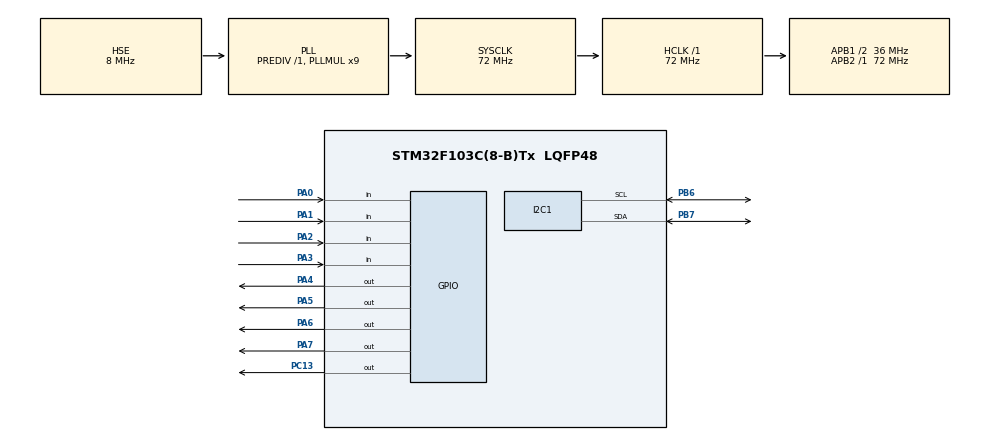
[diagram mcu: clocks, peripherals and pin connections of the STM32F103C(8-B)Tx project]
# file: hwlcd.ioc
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Mcu.Family=STM32F1
Mcu.Name=STM32F103C(8-B)Tx
Mcu.Package=LQFP48
NVIC.PriorityGroup=NVIC_PRIORITYGROUP_4
PA0-WKUP.GPIO_PuPd=GPIO_PULLUP
PA0-WKUP.Signal=GPIO_Input
PA1.GPIO_PuPd=GPIO_PULLUP
PA1.Signal=GPIO_Input
PA13.Mode=Serial_Wire
PA13.Signal=SYS_JTMS-SWDIO
PA14.Mode=Serial_Wire
PA14.Signal=SYS_JTCK-SWCLK
PA2.GPIO_PuPd=GPIO_PULLUP
PA2.Signal=GPIO_Input
PA3.GPIO_PuPd=GPIO_PULLUP
PA3.Signal=GPIO_Input
PA4.PinState=GPIO_PIN_SET
PA4.Signal=GPIO_Output
PA5.PinState=GPIO_PIN_SET
PA5.Signal=GPIO_Output
PA6.PinState=GPIO_PIN_SET
PA6.Signal=GPIO_Output
PA7.PinState=GPIO_PIN_SET
PA7.Signal=GPIO_Output
PB6.Mode=I2C
PB6.Signal=I2C1_SCL
PB7.Mode=I2C
PB7.Signal=I2C1_SDA
PC13-TAMPER-RTC.Signal=GPIO_Output
PD0-OSC_IN.Mode=HSE-External-Oscillator
PD0-OSC_IN.Signal=RCC_OSC_IN
PD1-OSC_OUT.Mode=HSE-External-Oscillator
PD1-OSC_OUT.Signal=RCC_OSC_OUT
ProjectManager.HeapSize=0x200
ProjectManager.StackSize=0x400
ProjectManager.TargetToolchain=STM32CubeIDE
RCC.AHBFreq_Value=72000000
RCC.APB1CLKDivider=RCC_HCLK_DIV2
RCC.APB1Freq_Value=36000000
RCC.APB1TimFreq_Value=72000000
RCC.APB2Freq_Value=72000000
RCC.APB2TimFreq_Value=72000000
RCC.HCLKFreq_Value=72000000
RCC.PLLMUL=RCC_PLL_MUL9
RCC.PLLSourceVirtual=RCC_PLLSOURCE_HSE
RCC.SYSCLKFreq_VALUE=72000000
RCC.SYSCLKSource=RCC_SYSCLKSOURCE_PLLCLK
RCC.USBFreq_Value=72000000
board=custom

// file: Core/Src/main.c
/* USER CODE BEGIN Header */
/**
  ******************************************************************************
  * @file           : main.c
  * @brief          : Main program body
  ******************************************************************************
  * @attention
  *
  * <h2><center>&copy; Copyright (c) 2023 STMicroelectronics.
  * All rights reserved.</center></h2>
  *
  * This software component is licensed by ST under BSD 3-Clause license,
  * the "License"; You may not use this file except in compliance with the
  * License. You may obtain a copy of the License at:
  *                        opensource.org/licenses/BSD-3-Clause
  *
  ******************************************************************************
  */
/* USER CODE END Header */
#include "main.h"

I2C_HandleTypeDef hi2c1;

void SystemClock_Config(void);
static void MX_GPIO_Init(void);
static void MX_I2C1_Init(void);
/* USER CODE BEGIN PFP */
void CheckPassWord()
{
	if(error < 3)
	{
		for( int k = 0; k < 8; k++)
		{
			if( var[k] == password[k])
			{
				if(k == 7)
				{
					for(int i = 0; i < 8;i++)
					{
						var[i] = 10;
					}
					count = 0;
					error = 0;
					lcd_clear();
					HAL_Delay(200);
					lcd_put_cur(0, 3);
					lcd_send_string("mat khau dung");
					HAL_Delay(5000);
					lcd_clear();
					HAL_Delay(200);
					lcd_put_cur(0, 3);
					lcd_send_string("Nhap mat khau");
				}
			}
			else
			{
				for(int j = 0; j < 8;j++)
				{
					var[j] = 15;
				}
				count = 0;
			}
		}
	    error++;
	}
}
void quetbanphim()
{
	// Quet cot 1
	HAL_GPIO_WritePin(GPIOA, GPIO_PIN_7, 0);
	//cot x hang cot out put hàng input
	test = count;
	if (HAL_GPIO_ReadPin(GPIOA, GPIO_PIN_3) == 0)
	{
		while(HAL_GPIO_ReadPin(GPIOA, GPIO_PIN_3) == 0);
		var[count] = 1;
		count++;
	}
	else if (HAL_GPIO_ReadPin(GPIOA, GPIO_PIN_2) == 0)
	{
		while(HAL_GPIO_ReadPin(GPIOA, GPIO_PIN_2) == 0);
		var[count] = 4;
		count++;
	}
	else if (HAL_GPIO_ReadPin(GPIOA, GPIO_PIN_1) == 0)
	{
		while(HAL_GPIO_ReadPin(GPIOA, GPIO_PIN_1) == 0);
		var[count] = 7;
		count++;
	}
	else if (HAL_GPIO_ReadPin(GPIOA, GPIO_PIN_0) == 0)
	{
		while(HAL_GPIO_ReadPin(GPIOA, GPIO_PIN_0) == 0);
		count--;
		var[count] = 15;
	}
	// Quet cot 2
	HAL_GPIO_WritePin(GPIOA, GPIO_PIN_7, 1);
	HAL_GPIO_WritePin(GPIOA, GPIO_PIN_6, 0);
	if (HAL_GPIO_ReadPin(GPIOA, GPIO_PIN_3) == 0)
	{
		while(HAL_GPIO_ReadPin(GPIOA, GPIO_PIN_3) == 0);
		var[count] = 2;
		count++;
	}
	else if (HAL_GPIO_ReadPin(GPIOA, GPIO_PIN_2) == 0)
	{
		while(HAL_GPIO_ReadPin(GPIOA, GPIO_PIN_2) == 0);
		var[count] = 5;
		count++;
	}
	else if (HAL_GPIO_ReadPin(GPIOA, GPIO_PIN_1) == 0)
	{
		while(HAL_GPIO_ReadPin(GPIOA, GPIO_PIN_1) == 0);
		var[count] = 8;
		count++;
	}
	else if (HAL_GPIO_ReadPin(GPIOA, GPIO_PIN_0) == 0)
	{
		while(HAL_GPIO_ReadPin(GPIOA, GPIO_PIN_0) == 0);
		count++;
		var[count] = 0;
	}
	HAL_GPIO_WritePin(GPIOA, GPIO_PIN_6, 1);

	//quet cot 3
	HAL_GPIO_WritePin(GPIOA, GPIO_PIN_5, 0);
	if (HAL_GPIO_ReadPin(GPIOA, GPIO_PIN_3) == 0)
	{
		while(HAL_GPIO_ReadPin(GPIOA, GPIO_PIN_3) == 0);
		var[count] = 3;
		count++;
	}
	else if (HAL_GPIO_ReadPin(GPIOA, GPIO_PIN_2) == 0)
	{
		while(HAL_GPIO_ReadPin(GPIOA, GPIO_PIN_2) == 0);
		var[count] = 6;
		count++;
	}
	else if (HAL_GPIO_ReadPin(GPIOA, GPIO_PIN_1) == 0)
	{
		while(HAL_GPIO_ReadPin(GPIOA, GPIO_PIN_1) == 0);
		var[count] = 9;
		count++;
	}
	else if (HAL_GPIO_ReadPin(GPIOA, GPIO_PIN_0) == 0)
	{
		while(HAL_GPIO_ReadPin(GPIOA, GPIO_PIN_0) == 0);
		count++;
		CheckPassWord();
	}
	HAL_GPIO_WritePin(GPIOA, GPIO_PIN_5, 1);
	// quét cột 4
	HAL_GPIO_WritePin(GPIOA, GPIO_PIN_4, 0);
	if (HAL_GPIO_ReadPin(GPIOA, GPIO_PIN_3) == 0)
	{
		while(HAL_GPIO_ReadPin(GPIOA, GPIO_PIN_3) == 0);
		var[count] = 11;
		count++;
	}
	else if (HAL_GPIO_ReadPin(GPIOA, GPIO_PIN_2) == 0)
	{
		while(HAL_GPIO_ReadPin(GPIOA, GPIO_PIN_2) == 0);
		var[count] = 12;
		count++;
	}
	else if (HAL_GPIO_ReadPin(GPIOA, GPIO_PIN_1) == 0)
	{
		while(HAL_GPIO_ReadPin(GPIOA, GPIO_PIN_1) == 0);
		var[count] = 13;
		count++;
	}
	else if (HAL_GPIO_ReadPin(GPIOA, GPIO_PIN_0) == 0)
	{
		while(HAL_GPIO_ReadPin(GPIOA, GPIO_PIN_0) == 0);
		var[count] = 14;
		count++;
	}
	if(test < count)
	{
		sprintf(buffer,"%d",var[count-1]);
		lcd_put_cur(1, count + 2);
		lcd_send_string(buffer);
	}
	else if (test > count)
	{
		lcd_put_cur(1, count + 3);
		lcd_send_string(" ");
	}
	if(count == 9){
		count = 0;
		lcd_clear();
		HAL_Delay(1000);
		lcd_put_cur(0, 3);
		lcd_send_string("Nhap mat khau");

	}
	HAL_GPIO_WritePin(GPIOA, GPIO_PIN_4, 1);

}

/* USER CODE END PFP */

int main(void)
{

  /* MCU Configuration--------------------------------------------------------*/

  /* Reset of all peripherals, Initializes the Flash interface and the Systick. */
  HAL_Init();

  /* Configure the system clock */
  SystemClock_Config();

  /* Initialize all configured peripherals */
  MX_GPIO_Init();
  MX_I2C1_Init();

  /* Infinite loop */
  /* USER CODE BEGIN WHILE */
  lcd_put_cur(0, 3);
  lcd_send_string("Nhap mat khau");
  HAL_Delay(1000);
  while (1)
  {
    /* USER CODE END WHILE */

  }
}

void SystemClock_Config(void)
{
  RCC_OscInitTypeDef RCC_OscInitStruct = {0};
  RCC_ClkInitTypeDef RCC_ClkInitStruct = {0};

  /** Initializes the RCC Oscillators according to the specified parameters
  * in the RCC_OscInitTypeDef structure.
  */
  RCC_OscInitStruct.OscillatorType = RCC_OSCILLATORTYPE_HSE;
  RCC_OscInitStruct.HSEState = RCC_HSE_ON;
  RCC_OscInitStruct.HSEPredivValue = RCC_HSE_PREDIV_DIV1;
  RCC_OscInitStruct.HSIState = RCC_HSI_ON;
  RCC_OscInitStruct.PLL.PLLState = RCC_PLL_ON;
  RCC_OscInitStruct.PLL.PLLSource = RCC_PLLSOURCE_HSE;
  RCC_OscInitStruct.PLL.PLLMUL = RCC_PLL_MUL9;
  if (HAL_RCC_OscConfig(&RCC_OscInitStruct) != HAL_OK)
  {
    Error_Handler();
  }
  /** Initializes the CPU, AHB and APB buses clocks
  */
  RCC_ClkInitStruct.ClockType = RCC_CLOCKTYPE_HCLK|RCC_CLOCKTYPE_SYSCLK
                              |RCC_CLOCKTYPE_PCLK1|RCC_CLOCKTYPE_PCLK2;
  RCC_ClkInitStruct.SYSCLKSource = RCC_SYSCLKSOURCE_PLLCLK;
  RCC_ClkInitStruct.AHBCLKDivider = RCC_SYSCLK_DIV1;
  RCC_ClkInitStruct.APB1CLKDivider = RCC_HCLK_DIV2;
  RCC_ClkInitStruct.APB2CLKDivider = RCC_HCLK_DIV1;

  if (HAL_RCC_ClockConfig(&RCC_ClkInitStruct, FLASH_LATENCY_2) != HAL_OK)
  {
    Error_Handler();
  }
}

static void MX_I2C1_Init(void)
{

  hi2c1.Instance = I2C1;
  hi2c1.Init.ClockSpeed = 100000;
  hi2c1.Init.DutyCycle = I2C_DUTYCYCLE_2;
  hi2c1.Init.OwnAddress1 = 0;
  hi2c1.Init.AddressingMode = I2C_ADDRESSINGMODE_7BIT;
  hi2c1.Init.DualAddressMode = I2C_DUALADDRESS_DISABLE;
  hi2c1.Init.OwnAddress2 = 0;
  hi2c1.Init.GeneralCallMode = I2C_GENERALCALL_DISABLE;
  hi2c1.Init.NoStretchMode = I2C_NOSTRETCH_DISABLE;
  if (HAL_I2C_Init(&hi2c1) != HAL_OK)
  {
    Error_Handler();
  }

}

static void MX_GPIO_Init(void)
{
  GPIO_InitTypeDef GPIO_InitStruct = {0};

  /* GPIO Ports Clock Enable */
  __HAL_RCC_GPIOC_CLK_ENABLE();
  __HAL_RCC_GPIOD_CLK_ENABLE();
  __HAL_RCC_GPIOA_CLK_ENABLE();
  __HAL_RCC_GPIOB_CLK_ENABLE();

  /*Configure GPIO pin Output Level */
  HAL_GPIO_WritePin(GPIOC, GPIO_PIN_13, GPIO_PIN_RESET);

  /*Configure GPIO pin Output Level */
  HAL_GPIO_WritePin(GPIOA, GPIO_PIN_4|GPIO_PIN_5|GPIO_PIN_6|GPIO_PIN_7, GPIO_PIN_SET);

  /*Configure GPIO pin : PC13 */
  GPIO_InitStruct.Pin = GPIO_PIN_13;
  GPIO_InitStruct.Mode = GPIO_MODE_OUTPUT_PP;
  GPIO_InitStruct.Pull = GPIO_NOPULL;
  GPIO_InitStruct.Speed = GPIO_SPEED_FREQ_LOW;
  HAL_GPIO_Init(GPIOC, &GPIO_InitStruct);

  /*Configure GPIO pins : PA0 PA1 PA2 PA3 */
  GPIO_InitStruct.Pin = GPIO_PIN_0|GPIO_PIN_1|GPIO_PIN_2|GPIO_PIN_3;
  GPIO_InitStruct.Mode = GPIO_MODE_INPUT;
  GPIO_InitStruct.Pull = GPIO_PULLUP;
  HAL_GPIO_Init(GPIOA, &GPIO_InitStruct);

  /*Configure GPIO pins : PA4 PA5 PA6 PA7 */
  GPIO_InitStruct.Pin = GPIO_PIN_4|GPIO_PIN_5|GPIO_PIN_6|GPIO_PIN_7;
  GPIO_InitStruct.Mode = GPIO_MODE_OUTPUT_PP;
  GPIO_InitStruct.Pull = GPIO_NOPULL;
  GPIO_InitStruct.Speed = GPIO_SPEED_FREQ_LOW;
  HAL_GPIO_Init(GPIOA, &GPIO_InitStruct);

}

void Error_Handler(void)
{
  __disable_irq();
  while (1)
  {
  }
}

/************************ (C) COPYRIGHT STMicroelectronics *****END OF FILE****/
